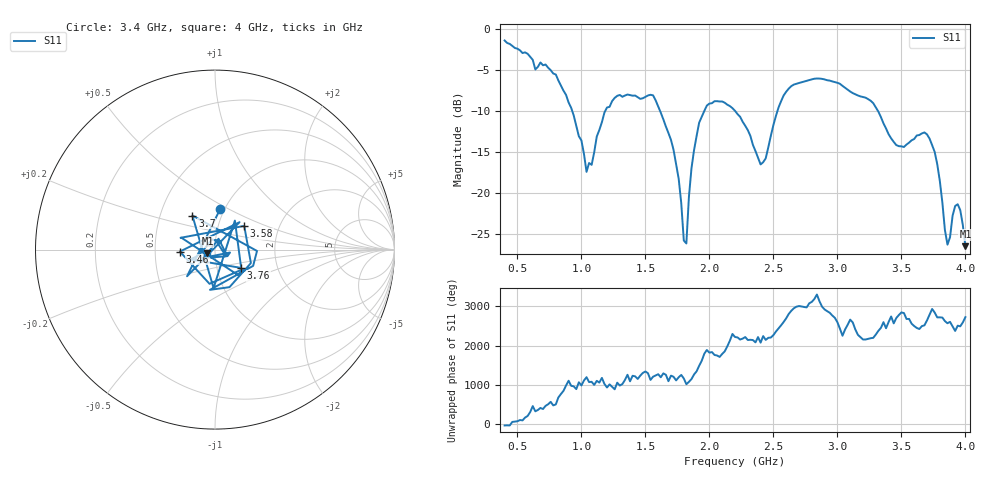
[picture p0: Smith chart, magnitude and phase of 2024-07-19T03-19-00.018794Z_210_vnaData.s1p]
!Created with skrf (http://scikit-rf.org).
# Hz S RI R 50.0
!freq ReS11 ImS11
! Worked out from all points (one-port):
!   181 points, 400 MHz to 4 GHz, reference 50 ohm
!   lowest |S11| = -26.5 dB at 4 GHz (marker M1), VSWR 1.10, Z = 45.9 - j1.98 ohm
!   |S11| at or under -10 dB: 1.615 GHz to 1.96 GHz (344.5 MHz wide, 19.3 % of centre); 2.202 GHz to 2.531 GHz (329.6 MHz wide, 13.9 % of centre); 3.318 GHz to end of sweep (the widest 3 of 4)
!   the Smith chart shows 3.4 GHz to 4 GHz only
!   S11 on the Smith chart (normalised r, x): 3.4 GHz: 0.95, +0.46; 3.46 GHz: 0.67, -0.02; 3.58 GHz: 1.33, +0.37; 3.7 GHz: 0.73, +0.29; 3.76 GHz: 1.31, -0.28; 4 GHz: 0.92, -0.04
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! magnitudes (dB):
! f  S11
! 400 MHz  -1.4
! 860 MHz  -7.5
! 1.04 GHz  -17.4
! 1.18 GHz  -10.2
! 1.3 GHz  -8.0
! 1.56 GHz  -8.1
! 1.7 GHz  -13.5
! 1.76 GHz  -18.3
! 1.8 GHz  -25.8
! 1.82 GHz  -26.2
! 1.86 GHz  -17.0
! 1.92 GHz  -11.4
! 2.04 GHz  -8.8
! 2.2 GHz  -10.0
! 2.4 GHz  -16.5
! 2.56 GHz  -8.8
! 2.66 GHz  -6.8
! 3.1 GHz  -7.6
! 3.28 GHz  -9.0
! 3.4 GHz  -12.8
! 3.46 GHz  -14.2
! 3.56 GHz  -13.9
! 3.58 GHz  -13.6
! 3.7 GHz  -12.8
! 3.76 GHz  -15.0
! 3.86 GHz  -26.3
! 3.94 GHz  -21.4
! 4 GHz  -26.5
